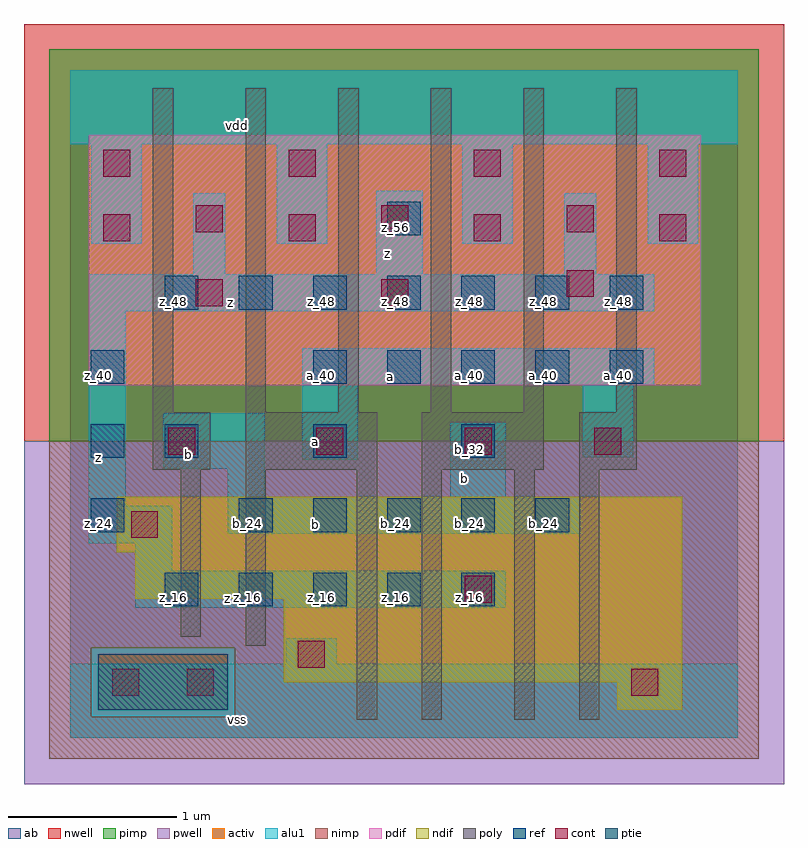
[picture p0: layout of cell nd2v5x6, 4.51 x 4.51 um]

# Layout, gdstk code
import gdstk
lib = gdstk.Library(unit=1e-6, precision=2.5e-09)
def R(c, l, rs):  # rectangles x0, y0, x1, y1
    for r in rs: c.add(gdstk.rectangle(r[:2], r[2:], *l))
def A(c, l, x, y, w, h, nx, ny, dx, dy):  # array of equal rectangles
    R(c, l, [(x+i*dx, y+j*dy, x+i*dx+w, y+j*dy+h) for i in range(nx) for j in range(ny)])
ndif = (3, 0)
pdif = (4, 0)
ptie = (6, 0)
ref = (24, 0)
cont = (25, 0)
pwell = (41, 0)
nwell = (42, 0)
activ = (43, 0)
pimp = (44, 0)
nimp = (45, 0)
poly = (46, 0)
alu1 = (49, 0)
ab = (63, 0)

nd2v5x6 = lib.new_cell('nd2v5x6')
R(nd2v5x6, ndif, [(3.245,0.165,3.63,0.33), (1.265,0.33,3.63,0.825), (0.385,0.825,3.63,1.1), (0.275,1.1,3.63,1.43)])
R(nd2v5x6, pdif, [(0.11,2.09,3.74,3.575)])
R(nd2v5x6, ptie, [(0.165,0.165,0.935,0.495)])
A(nd2v5x6, ref, 0.56, 0.78, 0.2, 0.2, 5, 1, 0.44, 0)
A(nd2v5x6, ref, 0.12, 1.22, 0.2, 0.2, 1, 3, 0, 0.44)
A(nd2v5x6, ref, 1, 1.22, 0.2, 0.2, 5, 1, 0.44, 0)
A(nd2v5x6, ref, 0.56, 1.66, 0.2, 0.2, 3, 1, 0.88, 0)
A(nd2v5x6, ref, 1.44, 2.1, 0.2, 0.2, 5, 1, 0.44, 0)
A(nd2v5x6, ref, 0.56, 2.54, 0.2, 0.2, 7, 1, 0.44, 0)
R(nd2v5x6, ref, [(1.88,2.98,2.08,3.18)])
A(nd2v5x6, cont, 0.58, 1.68, 0.16, 0.16, 3, 1, 0.88, 0)
A(nd2v5x6, cont, 0.195, 2.945, 0.16, 0.16, 4, 2, 1.1, 0.385)
A(nd2v5x6, cont, 0.745, 3, 0.16, 0.16, 3, 1, 1.1, 0)
R(nd2v5x6, cont, [(0.25,0.25,0.41,0.41), (0.69,0.25,0.85,0.41), (3.33,0.25,3.49,0.41), (1.35,0.415,1.51,0.575), (2.34,0.8,2.5,0.96), (0.36,1.185,0.52,1.345), (3.11,1.68,3.27,1.84), (0.745,2.56,0.905,2.72), (1.845,2.56,2.005,2.72), (2.945,2.615,3.105,2.775)])
R(nd2v5x6, pwell, [(-0.275,-0.275,4.235,1.76)])
R(nd2v5x6, nwell, [(-0.275,1.76,4.235,4.235)])
R(nd2v5x6, activ, [(0.165,0.165,0.935,0.495), (3.245,0.165,3.63,0.33), (1.265,0.33,3.63,0.825), (0.385,0.825,3.63,1.1), (0.275,1.1,3.63,1.43), (0.11,2.09,3.74,3.575)])
R(nd2v5x6, pimp, [(0.125,0.125,0.975,0.535), (-0.125,1.76,4.085,4.085)])
R(nd2v5x6, nimp, [(-0.125,-0.125,4.085,0.125), (-0.125,0.125,0.125,0.535), (0.975,0.125,4.085,0.535), (-0.125,0.535,4.085,1.76)])
A(nd2v5x6, poly, 0.49, 1.93, 0.12, 1.925, 6, 1, 0.55, 0)
R(nd2v5x6, poly, [(1.7,0.105,1.82,1.59), (2.085,0.105,2.205,1.59), (2.635,0.105,2.755,1.59), (3.02,0.105,3.14,1.59), (1.04,0.545,1.16,1.59), (0.655,0.6,0.775,1.59), (0.49,1.59,0.83,1.93), (1.04,1.59,1.82,1.93), (2.085,1.59,2.81,1.93), (3.02,1.59,3.36,1.93)])
A(nd2v5x6, alu1, 0.125, 2.93, 0.3, 0.59, 4, 1, 1.1, 0)
R(nd2v5x6, alu1, [(0,0,3.96,0.44), (1.28,0.44,1.58,0.59), (0.385,0.77,2.585,0.99), (0.385,0.99,0.605,1.155), (0.11,1.155,0.605,1.375), (0.935,1.21,3.025,1.43), (0.11,1.375,0.33,2.53), (0.935,1.43,1.155,1.595), (2.255,1.43,2.585,1.87), (0.55,1.595,1.155,1.925), (1.375,1.65,1.705,2.09), (3.04,1.665,3.34,2.09), (1.375,2.09,3.465,2.31), (0.11,2.53,3.465,2.75), (0.73,2.75,0.92,3.23), (1.815,2.75,2.09,3.245), (2.93,2.75,3.12,3.23), (0,3.52,3.96,3.96)])
R(nd2v5x6, ab, [(0,0,3.96,3.96)])
nd2v5x6.add(gdstk.Label('vss', (0.99,0.11), layer=49, texttype=0))
nd2v5x6.add(gdstk.Label('z', (0.935,0.825), layer=49, texttype=0))
nd2v5x6.add(gdstk.Label('b', (1.4575,1.265), layer=49, texttype=0))
nd2v5x6.add(gdstk.Label('b', (2.3375,1.54), layer=49, texttype=0))
nd2v5x6.add(gdstk.Label('a', (1.4575,1.76), layer=49, texttype=0))
nd2v5x6.add(gdstk.Label('b', (0.7,1.6775), layer=49, texttype=0))
nd2v5x6.add(gdstk.Label('a', (1.8975,2.145), layer=49, texttype=0))
nd2v5x6.add(gdstk.Label('z', (0.165,1.6625), layer=49, texttype=0))
nd2v5x6.add(gdstk.Label('z', (0.9475,2.585), layer=49, texttype=0))
nd2v5x6.add(gdstk.Label('z', (1.8825,2.8725), layer=49, texttype=0))
nd2v5x6.add(gdstk.Label('vdd', (0.99,3.63), layer=49, texttype=0))
nd2v5x6.add(gdstk.Label('z_16', (0.61,0.83), layer=24, texttype=0))
nd2v5x6.add(gdstk.Label('b_32', (0.61,1.71), layer=24, texttype=0))
nd2v5x6.add(gdstk.Label('z_48', (0.61,2.59), layer=24, texttype=0))
nd2v5x6.add(gdstk.Label('z_16', (1.05,0.83), layer=24, texttype=0))
nd2v5x6.add(gdstk.Label('b_24', (1.05,1.27), layer=24, texttype=0))
nd2v5x6.add(gdstk.Label('z_48', (1.05,2.59), layer=24, texttype=0))
nd2v5x6.add(gdstk.Label('z_16', (1.49,0.83), layer=24, texttype=0))
nd2v5x6.add(gdstk.Label('b_24', (1.49,1.27), layer=24, texttype=0))
nd2v5x6.add(gdstk.Label('a_32', (1.49,1.71), layer=24, texttype=0))
nd2v5x6.add(gdstk.Label('a_40', (1.49,2.15), layer=24, texttype=0))
nd2v5x6.add(gdstk.Label('z_48', (1.49,2.59), layer=24, texttype=0))
nd2v5x6.add(gdstk.Label('z_16', (1.93,0.83), layer=24, texttype=0))
nd2v5x6.add(gdstk.Label('b_24', (1.93,1.27), layer=24, texttype=0))
nd2v5x6.add(gdstk.Label('a_40', (1.93,2.15), layer=24, texttype=0))
nd2v5x6.add(gdstk.Label('z_48', (1.93,2.59), layer=24, texttype=0))
nd2v5x6.add(gdstk.Label('z_56', (1.93,3.03), layer=24, texttype=0))
nd2v5x6.add(gdstk.Label('z_24', (0.17,1.27), layer=24, texttype=0))
nd2v5x6.add(gdstk.Label('z_32', (0.17,1.71), layer=24, texttype=0))
nd2v5x6.add(gdstk.Label('z_40', (0.17,2.15), layer=24, texttype=0))
nd2v5x6.add(gdstk.Label('z_16', (2.37,0.83), layer=24, texttype=0))
nd2v5x6.add(gdstk.Label('b_24', (2.37,1.27), layer=24, texttype=0))
nd2v5x6.add(gdstk.Label('b_32', (2.37,1.71), layer=24, texttype=0))
nd2v5x6.add(gdstk.Label('a_40', (2.37,2.15), layer=24, texttype=0))
nd2v5x6.add(gdstk.Label('z_48', (2.37,2.59), layer=24, texttype=0))
nd2v5x6.add(gdstk.Label('b_24', (2.81,1.27), layer=24, texttype=0))
nd2v5x6.add(gdstk.Label('a_40', (2.81,2.15), layer=24, texttype=0))
nd2v5x6.add(gdstk.Label('z_48', (2.81,2.59), layer=24, texttype=0))
nd2v5x6.add(gdstk.Label('a_40', (3.25,2.15), layer=24, texttype=0))
nd2v5x6.add(gdstk.Label('z_48', (3.25,2.59), layer=24, texttype=0))

lib.write_gds('nd2v5x6.gds')
